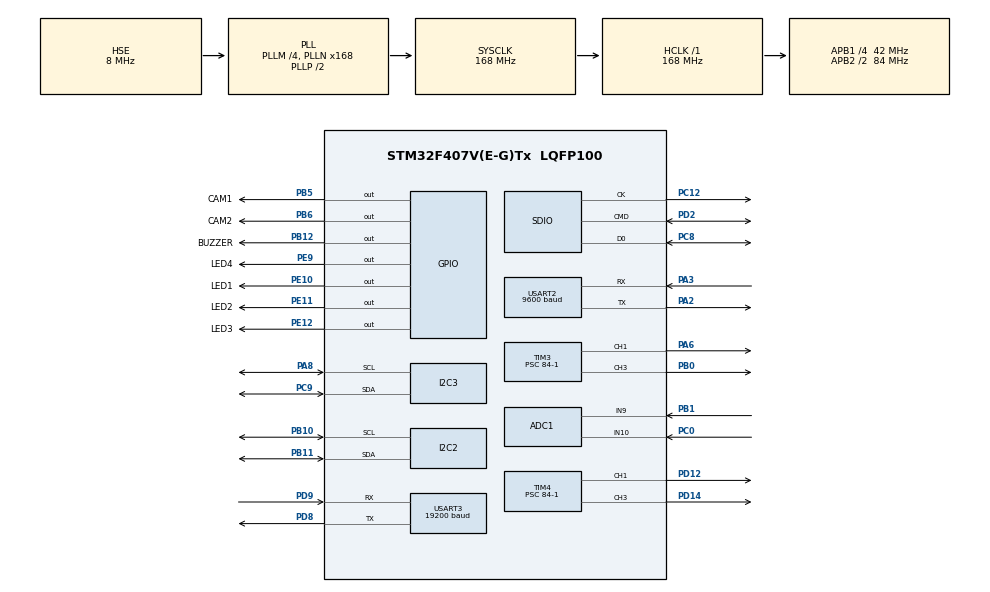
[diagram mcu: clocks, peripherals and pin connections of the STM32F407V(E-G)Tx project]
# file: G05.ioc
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ADC1.Channel-2\#ChannelRegularConversion=ADC_CHANNEL_10
ADC1.ContinuousConvMode=ENABLE
ADC1.DMAContinuousRequests=ENABLE
ADC1.NbrOfConversion=1
ADC1.NbrOfConversionFlag=1
ADC1.Rank-2\#ChannelRegularConversion=1
ADC1.SamplingTime-2\#ChannelRegularConversion=ADC_SAMPLETIME_480CYCLES
ADC1.ScanConvMode=ENABLE
ADC1.master=1
Dma.ADC1.0.Direction=DMA_PERIPH_TO_MEMORY
Dma.ADC1.0.FIFOMode=DMA_FIFOMODE_DISABLE
Dma.ADC1.0.Instance=DMA2_Stream0
Dma.ADC1.0.MemDataAlignment=DMA_MDATAALIGN_WORD
Dma.ADC1.0.MemInc=DMA_MINC_ENABLE
Dma.ADC1.0.Mode=DMA_CIRCULAR
Dma.ADC1.0.PeriphDataAlignment=DMA_PDATAALIGN_WORD
Dma.ADC1.0.PeriphInc=DMA_PINC_DISABLE
Dma.ADC1.0.Priority=DMA_PRIORITY_LOW
Dma.Request0=ADC1
Dma.Request1=USART2_RX
Dma.Request2=USART3_RX
Dma.Request3=USART3_TX
Dma.USART2_RX.1.Direction=DMA_PERIPH_TO_MEMORY
Dma.USART2_RX.1.FIFOMode=DMA_FIFOMODE_DISABLE
Dma.USART2_RX.1.Instance=DMA1_Stream5
Dma.USART2_RX.1.MemDataAlignment=DMA_MDATAALIGN_BYTE
Dma.USART2_RX.1.MemInc=DMA_MINC_ENABLE
Dma.USART2_RX.1.Mode=DMA_NORMAL
Dma.USART2_RX.1.PeriphDataAlignment=DMA_PDATAALIGN_BYTE
Dma.USART2_RX.1.PeriphInc=DMA_PINC_DISABLE
Dma.USART2_RX.1.Priority=DMA_PRIORITY_LOW
Dma.USART3_RX.2.Direction=DMA_PERIPH_TO_MEMORY
Dma.USART3_RX.2.FIFOMode=DMA_FIFOMODE_DISABLE
Dma.USART3_RX.2.Instance=DMA1_Stream1
Dma.USART3_RX.2.MemDataAlignment=DMA_MDATAALIGN_BYTE
Dma.USART3_RX.2.MemInc=DMA_MINC_ENABLE
Dma.USART3_RX.2.Mode=DMA_NORMAL
Dma.USART3_RX.2.PeriphDataAlignment=DMA_PDATAALIGN_BYTE
Dma.USART3_RX.2.PeriphInc=DMA_PINC_DISABLE
Dma.USART3_RX.2.Priority=DMA_PRIORITY_VERY_HIGH
Dma.USART3_TX.3.Direction=DMA_MEMORY_TO_PERIPH
Dma.USART3_TX.3.FIFOMode=DMA_FIFOMODE_DISABLE
Dma.USART3_TX.3.Instance=DMA1_Stream3
Dma.USART3_TX.3.MemDataAlignment=DMA_MDATAALIGN_BYTE
Dma.USART3_TX.3.MemInc=DMA_MINC_ENABLE
Dma.USART3_TX.3.Mode=DMA_NORMAL
Dma.USART3_TX.3.PeriphDataAlignment=DMA_PDATAALIGN_BYTE
Dma.USART3_TX.3.PeriphInc=DMA_PINC_DISABLE
Dma.USART3_TX.3.Priority=DMA_PRIORITY_VERY_HIGH
FATFS.USE_DMA_CODE_SD=0
FATFS._MAX_SS=512
FATFS._USE_LFN=1
I2C2.I2C_Mode=I2C_Standard
I2C3.I2C_Mode=I2C_Fast
Mcu.Family=STM32F4
Mcu.Name=STM32F407V(E-G)Tx
Mcu.Package=LQFP100
NVIC.DMA1_Stream1_IRQn=true\:0\:0\:true\:false\:true\:false\:true\:true
NVIC.DMA1_Stream3_IRQn=true\:1\:0\:true\:false\:true\:false\:true\:true
NVIC.DMA1_Stream5_IRQn=true\:2\:0\:true\:false\:true\:false\:true\:true
NVIC.DMA2_Stream0_IRQn=true\:5\:0\:true\:false\:true\:false\:true\:true
NVIC.PriorityGroup=NVIC_PRIORITYGROUP_4
NVIC.TIM1_TRG_COM_TIM11_IRQn=true\:2\:0\:true\:false\:true\:true\:true\:true
NVIC.TIM1_UP_TIM10_IRQn=true\:0\:0\:true\:false\:true\:true\:true\:true
NVIC.TIM8_UP_TIM13_IRQn=true\:3\:0\:true\:false\:true\:true\:true\:true
NVIC.USART3_IRQn=true\:0\:0\:false\:false\:true\:true\:true\:true
PA13.Mode=Serial_Wire
PA13.Signal=SYS_JTMS-SWDIO
PA14.Mode=Serial_Wire
PA14.Signal=SYS_JTCK-SWCLK
PA2.Mode=Asynchronous
PA2.Signal=USART2_TX
PA3.Mode=Asynchronous
PA3.Signal=USART2_RX
PA6.Signal=S_TIM3_CH1
PA8.Mode=I2C
PA8.Signal=I2C3_SCL
PB0.Signal=S_TIM3_CH3
PB1.Signal=ADCx_IN9
PB10.Mode=I2C
PB10.Signal=I2C2_SCL
PB11.Mode=I2C
PB11.Signal=I2C2_SDA
PB12.GPIO_Label=BUZZER
PB12.Signal=GPIO_Output
PB5.GPIO_Label=CAM1
PB5.Signal=GPIO_Output
PB6.GPIO_Label=CAM2
PB6.Signal=GPIO_Output
PC0.Signal=ADCx_IN10
PC12.Mode=SD_1_bit
PC12.Signal=SDIO_CK
PC14-OSC32_IN.Mode=LSE-External-Oscillator
PC14-OSC32_IN.Signal=RCC_OSC32_IN
PC15-OSC32_OUT.Mode=LSE-External-Oscillator
PC15-OSC32_OUT.Signal=RCC_OSC32_OUT
PC8.Mode=SD_1_bit
PC8.Signal=SDIO_D0
PC9.Mode=I2C
PC9.Signal=I2C3_SDA
PD12.Signal=S_TIM4_CH1
PD14.Signal=S_TIM4_CH3
PD2.Mode=SD_1_bit
PD2.Signal=SDIO_CMD
PD8.Mode=Asynchronous
PD8.Signal=USART3_TX
PD9.Mode=Asynchronous
PD9.Signal=USART3_RX
PE10.GPIO_Label=LED1
PE10.Signal=GPIO_Output
PE11.GPIO_Label=LED2
PE11.Signal=GPIO_Output
PE12.GPIO_Label=LED3
PE12.Signal=GPIO_Output
PE9.GPIO_Label=LED4
PE9.Signal=GPIO_Output
PH0-OSC_IN.Mode=HSE-External-Oscillator
PH0-OSC_IN.Signal=RCC_OSC_IN
PH1-OSC_OUT.Mode=HSE-External-Oscillator
PH1-OSC_OUT.Signal=RCC_OSC_OUT
ProjectManager.HeapSize=0x200
ProjectManager.StackSize=0x400
ProjectManager.TargetToolchain=STM32CubeIDE
RCC.48MHZClocksFreq_Value=48000000
RCC.AHBFreq_Value=168000000
RCC.APB1CLKDivider=RCC_HCLK_DIV4
RCC.APB1Freq_Value=42000000
RCC.APB1TimFreq_Value=84000000
RCC.APB2CLKDivider=RCC_HCLK_DIV2
RCC.APB2Freq_Value=84000000
RCC.APB2TimFreq_Value=168000000
RCC.CortexFreq_Value=168000000
RCC.HCLKFreq_Value=168000000
RCC.HSE_VALUE=8000000
RCC.HSI_VALUE=16000000
RCC.PLLM=4
RCC.PLLN=168
RCC.PLLQ=7
RCC.PLLSourceVirtual=RCC_PLLSOURCE_HSE
RCC.RCC_RTC_Clock_Source=RCC_RTCCLKSOURCE_LSE
RCC.RCC_RTC_Clock_SourceVirtual=RCC_RTCCLKSOURCE_LSE
RCC.SYSCLKFreq_VALUE=168000000
RCC.SYSCLKSource=RCC_SYSCLKSOURCE_PLLCLK
RCC.VCOOutputFreq_Value=336000000
SDIO.ClockDiv=12
SH.ADCx_IN10.0=ADC1_IN10,IN10
SH.ADCx_IN9.0=ADC1_IN9,IN9
SH.S_TIM3_CH1.0=TIM3_CH1,PWM Generation1 CH1
SH.S_TIM3_CH3.0=TIM3_CH3,PWM Generation3 CH3
SH.S_TIM4_CH1.0=TIM4_CH1,PWM Generation1 CH1
SH.S_TIM4_CH3.0=TIM4_CH3,PWM Generation3 CH3
TIM10.Period=10000-1
TIM10.Prescaler=16800-1
TIM11.Period=2500-1
TIM11.Prescaler=16800-1
TIM13.Period=30-1
TIM13.Prescaler=8400-1
TIM3.Channel-PWM\ Generation1\ CH1=TIM_CHANNEL_1
TIM3.Channel-PWM\ Generation3\ CH3=TIM_CHANNEL_3
TIM3.Period=20000-1
TIM3.Prescaler=84-1
TIM4.Channel-PWM\ Generation1\ CH1=TIM_CHANNEL_1
TIM4.Channel-PWM\ Generation3\ CH3=TIM_CHANNEL_3
TIM4.Period=20000-1
TIM4.Prescaler=84-1
TIM9.Period=20000-1
TIM9.Prescaler=168-1
USART2.BaudRate=9600
USART2.VirtualMode=VM_ASYNC
USART3.BaudRate=19200
USART3.VirtualMode=VM_ASYNC
VP_FATFS_VS_SDIO.Mode=SDIO
VP_RTC_VS_RTC_Activate.Mode=RTC_Enabled
VP_RTC_VS_RTC_Calendar.Mode=RTC_Calendar
VP_TIM10_VS_ClockSourceINT.Mode=Enable_Timer
VP_TIM11_VS_ClockSourceINT.Mode=Enable_Timer
VP_TIM13_VS_ClockSourceINT.Mode=Enable_Timer
VP_TIM3_VS_ClockSourceINT.Mode=Internal
VP_TIM9_VS_ClockSourceINT.Mode=Internal
board=custom

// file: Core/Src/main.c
/* USER CODE BEGIN Header */
/**
  ******************************************************************************
  * @file           : main.c
  * @brief          : Main program body
  ******************************************************************************
  * @attention
  *
  * Copyright (c) 2023 STMicroelectronics.
  * All rights reserved.
  *
  * This software is licensed under terms that can be found in the LICENSE file
  * in the root directory of this software component.
  * If no LICENSE file comes with this software, it is provided AS-IS.
  *
  ******************************************************************************
  */
/* USER CODE END Header */
#include "main.h"
#include "fatfs.h"

/* USER CODE BEGIN Includes */
#include <stdio.h>
#include <string.h>
#include "kom.h"
#include "task.h"
#include "BME280_STM32.h"
#include "bno055.h"
#include "GPS.h"
#include "servo.h"
#include "File_Handling.h"
#include "tm_stm32f4_bkpsram.h"
/* USER CODE END Includes */

ADC_HandleTypeDef hadc1;
DMA_HandleTypeDef hdma_adc1;

I2C_HandleTypeDef hi2c2;
I2C_HandleTypeDef hi2c3;

RTC_HandleTypeDef hrtc;

SD_HandleTypeDef hsd;

TIM_HandleTypeDef htim3;
TIM_HandleTypeDef htim4;
TIM_HandleTypeDef htim9;
TIM_HandleTypeDef htim10;
TIM_HandleTypeDef htim11;
TIM_HandleTypeDef htim13;

UART_HandleTypeDef huart2;
UART_HandleTypeDef huart3;
DMA_HandleTypeDef hdma_usart2_rx;
DMA_HandleTypeDef hdma_usart3_rx;
DMA_HandleTypeDef hdma_usart3_tx;

/* USER CODE BEGIN PV */

extern FATFS fs;
extern FIL fil;
extern FRESULT fresult;
extern UINT br, bw;

extern datatelemetri_t datatelemetri;
extern uint16_t counting;
extern uint8_t flaggimbal;
extern uint8_t flagtel;
extern uint8_t flagkameraon;
extern uint8_t flagkameraoff;
extern uint8_t camera;
uint8_t timerkamera1 = 29;
uint8_t timerkamera2 = 26;
uint16_t cam_pin;

bno055_vector_t bno055_euler, bno055_gyro;

/* USER CODE END PV */

void SystemClock_Config(void);
static void MX_GPIO_Init(void);
static void MX_DMA_Init(void);
static void MX_USART3_UART_Init(void);
static void MX_TIM10_Init(void);
static void MX_I2C2_Init(void);
static void MX_I2C3_Init(void);
static void MX_ADC1_Init(void);
static void MX_USART2_UART_Init(void);
static void MX_TIM4_Init(void);
static void MX_SDIO_SD_Init(void);
static void MX_TIM3_Init(void);
static void MX_TIM9_Init(void);
static void MX_TIM13_Init(void);
static void MX_TIM11_Init(void);
static void MX_RTC_Init(void);

/* USER CODE BEGIN 0 */

void HAL_TIM_PeriodElapsedCallback(TIM_HandleTypeDef *htim)
{
    if (htim == &htim10)
    {
		ambildata();
		if (flagtel == 1)
		{
			counting++;
			TM_BKPSRAM_Write16(PACKETCOUNT_ADR, counting);
			HAL_UART_Transmit_DMA(&huart3, (uint8_t *)datatelemetri.telemetritotal, strnlen(datatelemetri.telemetritotal, sizeof(datatelemetri.telemetritotal)));
			HAL_GPIO_WritePin(LED4_GPIO_Port, LED4_Pin, SET);
		}
		f_open(&fil, "2032.txt", FA_OPEN_APPEND | FA_WRITE);
		f_write(&fil, datatelemetri.telemetritotal, strlen(datatelemetri.telemetritotal), &bw);
		f_close(&fil);
		HAL_GPIO_WritePin(LED4_GPIO_Port, LED4_Pin, RESET);
	}

	if (htim == &htim11)
	{
		BME280_Measure();

		if (flagkameraon)
		{
			switch (camera) {
				case 1:
					cam_pin = CAM1_Pin;
					break;
				case 2:
					cam_pin = CAM2_Pin;
					break;
			}

			timerkamera1--;
			if(timerkamera1 < 29 && timerkamera1 > 27)
			{
				//28
				HAL_GPIO_WritePin(GPIOB, cam_pin, SET);
			}
			else if (timerkamera1 > 11 && timerkamera1 < 13)
			{
				//12
				HAL_GPIO_WritePin(GPIOB, cam_pin, RESET);
			}
			else if (timerkamera1 > 3 && timerkamera1 < 5)
			{
				//4
				HAL_GPIO_WritePin(GPIOB, cam_pin, SET);
			}
			if (timerkamera1 < 1)
			{
				flagkameraon = 0;
				timerkamera1 = 29;
				HAL_GPIO_WritePin(GPIOB, cam_pin, RESET);
			}
		}

		if (flagkameraoff)
		{
			timerkamera2--;
			if (timerkamera2 < 26 && timerkamera2 > 24)
			{
				//25
				HAL_GPIO_WritePin(CAM1_GPIO_Port, CAM1_Pin, SET);
				HAL_GPIO_WritePin(CAM2_GPIO_Port, CAM2_Pin, SET);
			}
			else if (timerkamera2 < 22 && timerkamera2 > 20)
			{
				//21
				HAL_GPIO_WritePin(CAM1_GPIO_Port, CAM1_Pin, RESET);
				HAL_GPIO_WritePin(CAM2_GPIO_Port, CAM2_Pin, RESET);
			}
			else if (timerkamera2 < 19 && timerkamera2 > 17)
			{
				//18
				HAL_GPIO_WritePin(CAM1_GPIO_Port, CAM1_Pin, SET);
				HAL_GPIO_WritePin(CAM2_GPIO_Port, CAM2_Pin, SET);
			}
			else if (timerkamera2 < 1)
			{
				flagkameraoff = 0;
				timerkamera2 = 26;
				HAL_GPIO_WritePin(CAM1_GPIO_Port, CAM1_Pin, RESET);
				HAL_GPIO_WritePin(CAM2_GPIO_Port, CAM2_Pin, RESET);
			}
		}
	}

	if (htim == &htim13)
	{
		bno055_gyro = bno055_getVectorGyroscope();
		bno055_euler = bno055_getVectorEuler();

		if (flaggimbal)
		{
			if (bno055_euler.x >= 0 && bno055_euler.x < 180)
			{
				servogerak(&htim3, TIM_CHANNEL_1, bno055_euler.x);
				servogerak(&htim3, TIM_CHANNEL_3, 0);
			}
			else if (bno055_euler.x >= 180 && bno055_euler.x <= 360)
			{
				servogerak(&htim3, TIM_CHANNEL_1, 180);
				servogerak(&htim3, TIM_CHANNEL_3, bno055_euler.x - 180);
			}
		}
    }
}

void HAL_ADC_ConvCpltCallback(ADC_HandleTypeDef* hadc)
{
	ADC_measure();
}

void HAL_UART_RxCpltCallback(UART_HandleTypeDef *huart)
{
    if (huart == &huart2)
    {
    	parsegpsdata();
    }

    if (huart == &huart3)
    {
    	checkdata_();
    }
}

void HAL_UART_TxCpltCallback(UART_HandleTypeDef *huart)
{
}

/* USER CODE END 0 */

int main(void)
{

  /* MCU Configuration--------------------------------------------------------*/

  /* Reset of all peripherals, Initializes the Flash interface and the Systick. */
  HAL_Init();

  /* Configure the system clock */
  SystemClock_Config();

  /* Initialize all configured peripherals */
  MX_GPIO_Init();
  MX_DMA_Init();
  MX_USART3_UART_Init();
  MX_TIM10_Init();
  MX_FATFS_Init();
  MX_I2C2_Init();
  MX_I2C3_Init();
  MX_ADC1_Init();
  MX_USART2_UART_Init();
  MX_TIM4_Init();
  MX_SDIO_SD_Init();
  MX_TIM3_Init();
  MX_TIM9_Init();
  MX_TIM13_Init();
  MX_TIM11_Init();
  MX_RTC_Init();
  /* USER CODE BEGIN 2 */

  TM_BKPSRAM_Init();
  init();
  rtcbackup();
  Mount_SD((const TCHAR *)"");
  Create_File("2032.txt");
  bno055_init();
  if (BME280_Config(OSRS_2, OSRS_16, OSRS_1, MODE_NORMAL, T_SB_0p5, IIR_16) == 0)
  {
      HAL_GPIO_WritePin(LED2_GPIO_Port, LED2_Pin, SET);
  }
  HAL_TIM_PWM_Start(&htim3, TIM_CHANNEL_1);
  HAL_TIM_PWM_Start(&htim3, TIM_CHANNEL_3);
  HAL_TIM_PWM_Start(&htim4, TIM_CHANNEL_1);
  kominit();
  gpsinit();
  adcinit();
  HAL_TIM_Base_Start_IT(&htim10);
  HAL_TIM_Base_Start_IT(&htim11);
  HAL_TIM_Base_Start_IT(&htim13);

  /* USER CODE END 2 */

  /* Infinite loop */
  while (1)
  {

  }
}

void SystemClock_Config(void)
{
  RCC_OscInitTypeDef RCC_OscInitStruct = {0};
  RCC_ClkInitTypeDef RCC_ClkInitStruct = {0};

  /** Configure the main internal regulator output voltage
  */
  __HAL_RCC_PWR_CLK_ENABLE();
  __HAL_PWR_VOLTAGESCALING_CONFIG(PWR_REGULATOR_VOLTAGE_SCALE1);

  /** Initializes the RCC Oscillators according to the specified parameters
  * in the RCC_OscInitTypeDef structure.
  */
  RCC_OscInitStruct.OscillatorType = RCC_OSCILLATORTYPE_HSE|RCC_OSCILLATORTYPE_LSE;
  RCC_OscInitStruct.HSEState = RCC_HSE_ON;
  RCC_OscInitStruct.LSEState = RCC_LSE_ON;
  RCC_OscInitStruct.PLL.PLLState = RCC_PLL_ON;
  RCC_OscInitStruct.PLL.PLLSource = RCC_PLLSOURCE_HSE;
  RCC_OscInitStruct.PLL.PLLM = 4;
  RCC_OscInitStruct.PLL.PLLN = 168;
  RCC_OscInitStruct.PLL.PLLP = RCC_PLLP_DIV2;
  RCC_OscInitStruct.PLL.PLLQ = 7;
  if (HAL_RCC_OscConfig(&RCC_OscInitStruct) != HAL_OK)
  {
    Error_Handler();
  }

  /** Initializes the CPU, AHB and APB buses clocks
  */
  RCC_ClkInitStruct.ClockType = RCC_CLOCKTYPE_HCLK|RCC_CLOCKTYPE_SYSCLK
                              |RCC_CLOCKTYPE_PCLK1|RCC_CLOCKTYPE_PCLK2;
  RCC_ClkInitStruct.SYSCLKSource = RCC_SYSCLKSOURCE_PLLCLK;
  RCC_ClkInitStruct.AHBCLKDivider = RCC_SYSCLK_DIV1;
  RCC_ClkInitStruct.APB1CLKDivider = RCC_HCLK_DIV4;
  RCC_ClkInitStruct.APB2CLKDivider = RCC_HCLK_DIV2;

  if (HAL_RCC_ClockConfig(&RCC_ClkInitStruct, FLASH_LATENCY_5) != HAL_OK)
  {
    Error_Handler();
  }
}

static void MX_ADC1_Init(void)
{

  ADC_ChannelConfTypeDef sConfig = {0};

  /** Configure the global features of the ADC (Clock, Resolution, Data Alignment and number of conversion)
  */
  hadc1.Instance = ADC1;
  hadc1.Init.ClockPrescaler = ADC_CLOCK_SYNC_PCLK_DIV4;
  hadc1.Init.Resolution = ADC_RESOLUTION_12B;
  hadc1.Init.ScanConvMode = ENABLE;
  hadc1.Init.ContinuousConvMode = ENABLE;
  hadc1.Init.DiscontinuousConvMode = DISABLE;
  hadc1.Init.ExternalTrigConvEdge = ADC_EXTERNALTRIGCONVEDGE_NONE;
  hadc1.Init.ExternalTrigConv = ADC_SOFTWARE_START;
  hadc1.Init.DataAlign = ADC_DATAALIGN_RIGHT;
  hadc1.Init.NbrOfConversion = 1;
  hadc1.Init.DMAContinuousRequests = ENABLE;
  hadc1.Init.EOCSelection = ADC_EOC_SINGLE_CONV;
  if (HAL_ADC_Init(&hadc1) != HAL_OK)
  {
    Error_Handler();
  }

  /** Configure for the selected ADC regular channel its corresponding rank in the sequencer and its sample time.
  */
  sConfig.Channel = ADC_CHANNEL_10;
  sConfig.Rank = 1;
  sConfig.SamplingTime = ADC_SAMPLETIME_480CYCLES;
  if (HAL_ADC_ConfigChannel(&hadc1, &sConfig) != HAL_OK)
  {
    Error_Handler();
  }

}

static void MX_I2C2_Init(void)
{

  hi2c2.Instance = I2C2;
  hi2c2.Init.ClockSpeed = 100000;
  hi2c2.Init.DutyCycle = I2C_DUTYCYCLE_2;
  hi2c2.Init.OwnAddress1 = 0;
  hi2c2.Init.AddressingMode = I2C_ADDRESSINGMODE_7BIT;
  hi2c2.Init.DualAddressMode = I2C_DUALADDRESS_DISABLE;
  hi2c2.Init.OwnAddress2 = 0;
  hi2c2.Init.GeneralCallMode = I2C_GENERALCALL_DISABLE;
  hi2c2.Init.NoStretchMode = I2C_NOSTRETCH_DISABLE;
  if (HAL_I2C_Init(&hi2c2) != HAL_OK)
  {
    Error_Handler();
  }

}

static void MX_I2C3_Init(void)
{

  hi2c3.Instance = I2C3;
  hi2c3.Init.ClockSpeed = 400000;
  hi2c3.Init.DutyCycle = I2C_DUTYCYCLE_2;
  hi2c3.Init.OwnAddress1 = 0;
  hi2c3.Init.AddressingMode = I2C_ADDRESSINGMODE_7BIT;
  hi2c3.Init.DualAddressMode = I2C_DUALADDRESS_DISABLE;
  hi2c3.Init.OwnAddress2 = 0;
  hi2c3.Init.GeneralCallMode = I2C_GENERALCALL_DISABLE;
  hi2c3.Init.NoStretchMode = I2C_NOSTRETCH_DISABLE;
  if (HAL_I2C_Init(&hi2c3) != HAL_OK)
  {
    Error_Handler();
  }

}

static void MX_RTC_Init(void)
{

  RTC_TimeTypeDef sTime = {0};
  RTC_DateTypeDef sDate = {0};

  /** Initialize RTC Only
  */
  hrtc.Instance = RTC;
  hrtc.Init.HourFormat = RTC_HOURFORMAT_24;
  hrtc.Init.AsynchPrediv = 127;
  hrtc.Init.SynchPrediv = 255;
  hrtc.Init.OutPut = RTC_OUTPUT_DISABLE;
  hrtc.Init.OutPutPolarity = RTC_OUTPUT_POLARITY_HIGH;
  hrtc.Init.OutPutType = RTC_OUTPUT_TYPE_OPENDRAIN;
  if (HAL_RTC_Init(&hrtc) != HAL_OK)
  {
    Error_Handler();
  }

  /** Initialize RTC and set the Time and Date
  */
  sTime.Hours = 0x0;
  sTime.Minutes = 0x0;
  sTime.Seconds = 0x0;
  sTime.DayLightSaving = RTC_DAYLIGHTSAVING_NONE;
  sTime.StoreOperation = RTC_STOREOPERATION_RESET;
  if (HAL_RTC_SetTime(&hrtc, &sTime, RTC_FORMAT_BCD) != HAL_OK)
  {
    Error_Handler();
  }
  sDate.WeekDay = RTC_WEEKDAY_MONDAY;
  sDate.Month = RTC_MONTH_JANUARY;
  sDate.Date = 0x1;
  sDate.Year = 0x0;

  if (HAL_RTC_SetDate(&hrtc, &sDate, RTC_FORMAT_BCD) != HAL_OK)
  {
    Error_Handler();
  }

}

static void MX_SDIO_SD_Init(void)
{

  hsd.Instance = SDIO;
  hsd.Init.ClockEdge = SDIO_CLOCK_EDGE_RISING;
  hsd.Init.ClockBypass = SDIO_CLOCK_BYPASS_DISABLE;
  hsd.Init.ClockPowerSave = SDIO_CLOCK_POWER_SAVE_DISABLE;
  hsd.Init.BusWide = SDIO_BUS_WIDE_1B;
  hsd.Init.HardwareFlowControl = SDIO_HARDWARE_FLOW_CONTROL_DISABLE;
  hsd.Init.ClockDiv = 12;

}

static void MX_TIM3_Init(void)
{

  TIM_ClockConfigTypeDef sClockSourceConfig = {0};
  TIM_MasterConfigTypeDef sMasterConfig = {0};
  TIM_OC_InitTypeDef sConfigOC = {0};

  htim3.Instance = TIM3;
  htim3.Init.Prescaler = 84-1;
  htim3.Init.CounterMode = TIM_COUNTERMODE_UP;
  htim3.Init.Period = 20000-1;
  htim3.Init.ClockDivision = TIM_CLOCKDIVISION_DIV1;
  htim3.Init.AutoReloadPreload = TIM_AUTORELOAD_PRELOAD_DISABLE;
  if (HAL_TIM_Base_Init(&htim3) != HAL_OK)
  {
    Error_Handler();
  }
  sClockSourceConfig.ClockSource = TIM_CLOCKSOURCE_INTERNAL;
  if (HAL_TIM_ConfigClockSource(&htim3, &sClockSourceConfig) != HAL_OK)
  {
    Error_Handler();
  }
  if (HAL_TIM_PWM_Init(&htim3) != HAL_OK)
  {
    Error_Handler();
  }
  sMasterConfig.MasterOutputTrigger = TIM_TRGO_RESET;
  sMasterConfig.MasterSlaveMode = TIM_MASTERSLAVEMODE_DISABLE;
  if (HAL_TIMEx_MasterConfigSynchronization(&htim3, &sMasterConfig) != HAL_OK)
  {
    Error_Handler();
  }
  sConfigOC.OCMode = TIM_OCMODE_PWM1;
  sConfigOC.Pulse = 0;
  sConfigOC.OCPolarity = TIM_OCPOLARITY_HIGH;
  sConfigOC.OCFastMode = TIM_OCFAST_DISABLE;
  if (HAL_TIM_PWM_ConfigChannel(&htim3, &sConfigOC, TIM_CHANNEL_1) != HAL_OK)
  {
    Error_Handler();
  }
  if (HAL_TIM_PWM_ConfigChannel(&htim3, &sConfigOC, TIM_CHANNEL_3) != HAL_OK)
  {
    Error_Handler();
  }
  HAL_TIM_MspPostInit(&htim3);

}

static void MX_TIM4_Init(void)
{

  TIM_MasterConfigTypeDef sMasterConfig = {0};
  TIM_OC_InitTypeDef sConfigOC = {0};

  htim4.Instance = TIM4;
  htim4.Init.Prescaler = 84-1;
  htim4.Init.CounterMode = TIM_COUNTERMODE_UP;
  htim4.Init.Period = 20000-1;
  htim4.Init.ClockDivision = TIM_CLOCKDIVISION_DIV1;
  htim4.Init.AutoReloadPreload = TIM_AUTORELOAD_PRELOAD_DISABLE;
  if (HAL_TIM_PWM_Init(&htim4) != HAL_OK)
  {
    Error_Handler();
  }
  sMasterConfig.MasterOutputTrigger = TIM_TRGO_RESET;
  sMasterConfig.MasterSlaveMode = TIM_MASTERSLAVEMODE_DISABLE;
  if (HAL_TIMEx_MasterConfigSynchronization(&htim4, &sMasterConfig) != HAL_OK)
  {
    Error_Handler();
  }
  sConfigOC.OCMode = TIM_OCMODE_PWM1;
  sConfigOC.Pulse = 0;
  sConfigOC.OCPolarity = TIM_OCPOLARITY_HIGH;
  sConfigOC.OCFastMode = TIM_OCFAST_DISABLE;
  if (HAL_TIM_PWM_ConfigChannel(&htim4, &sConfigOC, TIM_CHANNEL_1) != HAL_OK)
  {
    Error_Handler();
  }
  if (HAL_TIM_PWM_ConfigChannel(&htim4, &sConfigOC, TIM_CHANNEL_3) != HAL_OK)
  {
    Error_Handler();
  }
  HAL_TIM_MspPostInit(&htim4);

}

static void MX_TIM9_Init(void)
{

  TIM_ClockConfigTypeDef sClockSourceConfig = {0};

  htim9.Instance = TIM9;
  htim9.Init.Prescaler = 168-1;
  htim9.Init.CounterMode = TIM_COUNTERMODE_UP;
  htim9.Init.Period = 20000-1;
  htim9.Init.ClockDivision = TIM_CLOCKDIVISION_DIV1;
  htim9.Init.AutoReloadPreload = TIM_AUTORELOAD_PRELOAD_DISABLE;
  if (HAL_TIM_Base_Init(&htim9) != HAL_OK)
  {
    Error_Handler();
  }
  sClockSourceConfig.ClockSource = TIM_CLOCKSOURCE_INTERNAL;
  if (HAL_TIM_ConfigClockSource(&htim9, &sClockSourceConfig) != HAL_OK)
  {
    Error_Handler();
  }

}

static void MX_TIM10_Init(void)
{

  htim10.Instance = TIM10;
  htim10.Init.Prescaler = 16800-1;
  htim10.Init.CounterMode = TIM_COUNTERMODE_UP;
  htim10.Init.Period = 10000-1;
  htim10.Init.ClockDivision = TIM_CLOCKDIVISION_DIV1;
  htim10.Init.AutoReloadPreload = TIM_AUTORELOAD_PRELOAD_DISABLE;
  if (HAL_TIM_Base_Init(&htim10) != HAL_OK)
  {
    Error_Handler();
  }

}

static void MX_TIM11_Init(void)
{

  htim11.Instance = TIM11;
  htim11.Init.Prescaler = 16800-1;
  htim11.Init.CounterMode = TIM_COUNTERMODE_UP;
  htim11.Init.Period = 2500-1;
  htim11.Init.ClockDivision = TIM_CLOCKDIVISION_DIV1;
  htim11.Init.AutoReloadPreload = TIM_AUTORELOAD_PRELOAD_DISABLE;
  if (HAL_TIM_Base_Init(&htim11) != HAL_OK)
  {
    Error_Handler();
  }

}

static void MX_TIM13_Init(void)
{

  htim13.Instance = TIM13;
  htim13.Init.Prescaler = 8400-1;
  htim13.Init.CounterMode = TIM_COUNTERMODE_UP;
  htim13.Init.Period = 30-1;
  htim13.Init.ClockDivision = TIM_CLOCKDIVISION_DIV1;
  htim13.Init.AutoReloadPreload = TIM_AUTORELOAD_PRELOAD_DISABLE;
  if (HAL_TIM_Base_Init(&htim13) != HAL_OK)
  {
    Error_Handler();
  }

}

static void MX_USART2_UART_Init(void)
{

  huart2.Instance = USART2;
  huart2.Init.BaudRate = 9600;
  huart2.Init.WordLength = UART_WORDLENGTH_8B;
  huart2.Init.StopBits = UART_STOPBITS_1;
  huart2.Init.Parity = UART_PARITY_NONE;
  huart2.Init.Mode = UART_MODE_TX_RX;
  huart2.Init.HwFlowCtl = UART_HWCONTROL_NONE;
  huart2.Init.OverSampling = UART_OVERSAMPLING_16;
  if (HAL_UART_Init(&huart2) != HAL_OK)
  {
    Error_Handler();
  }

}

static void MX_USART3_UART_Init(void)
{

  huart3.Instance = USART3;
  huart3.Init.BaudRate = 19200;
  huart3.Init.WordLength = UART_WORDLENGTH_8B;
  huart3.Init.StopBits = UART_STOPBITS_1;
  huart3.Init.Parity = UART_PARITY_NONE;
  huart3.Init.Mode = UART_MODE_TX_RX;
  huart3.Init.HwFlowCtl = UART_HWCONTROL_NONE;
  huart3.Init.OverSampling = UART_OVERSAMPLING_16;
  if (HAL_UART_Init(&huart3) != HAL_OK)
  {
    Error_Handler();
  }

}

static void MX_DMA_Init(void)
{

  /* DMA controller clock enable */
  __HAL_RCC_DMA2_CLK_ENABLE();
  __HAL_RCC_DMA1_CLK_ENABLE();

  /* DMA interrupt init */
  /* DMA1_Stream1_IRQn interrupt configuration */
  HAL_NVIC_SetPriority(DMA1_Stream1_IRQn, 0, 0);
  HAL_NVIC_EnableIRQ(DMA1_Stream1_IRQn);
  /* DMA1_Stream3_IRQn interrupt configuration */
  HAL_NVIC_SetPriority(DMA1_Stream3_IRQn, 1, 0);
  HAL_NVIC_EnableIRQ(DMA1_Stream3_IRQn);
  /* DMA1_Stream5_IRQn interrupt configuration */
  HAL_NVIC_SetPriority(DMA1_Stream5_IRQn, 2, 0);
  HAL_NVIC_EnableIRQ(DMA1_Stream5_IRQn);
  /* DMA2_Stream0_IRQn interrupt configuration */
  HAL_NVIC_SetPriority(DMA2_Stream0_IRQn, 5, 0);
  HAL_NVIC_EnableIRQ(DMA2_Stream0_IRQn);

}

static void MX_GPIO_Init(void)
{
  GPIO_InitTypeDef GPIO_InitStruct = {0};

  /* GPIO Ports Clock Enable */
  __HAL_RCC_GPIOC_CLK_ENABLE();
  __HAL_RCC_GPIOH_CLK_ENABLE();
  __HAL_RCC_GPIOA_CLK_ENABLE();
  __HAL_RCC_GPIOB_CLK_ENABLE();
  __HAL_RCC_GPIOE_CLK_ENABLE();
  __HAL_RCC_GPIOD_CLK_ENABLE();

  /*Configure GPIO pin Output Level */
  HAL_GPIO_WritePin(GPIOE, LED4_Pin|LED1_Pin|LED2_Pin|LED3_Pin, GPIO_PIN_RESET);

  /*Configure GPIO pin Output Level */
  HAL_GPIO_WritePin(GPIOB, BUZZER_Pin|CAM1_Pin|CAM2_Pin, GPIO_PIN_RESET);

  /*Configure GPIO pins : LED4_Pin LED1_Pin LED2_Pin LED3_Pin */
  GPIO_InitStruct.Pin = LED4_Pin|LED1_Pin|LED2_Pin|LED3_Pin;
  GPIO_InitStruct.Mode = GPIO_MODE_OUTPUT_PP;
  GPIO_InitStruct.Pull = GPIO_NOPULL;
  GPIO_InitStruct.Speed = GPIO_SPEED_FREQ_LOW;
  HAL_GPIO_Init(GPIOE, &GPIO_InitStruct);

  /*Configure GPIO pins : BUZZER_Pin CAM1_Pin CAM2_Pin */
  GPIO_InitStruct.Pin = BUZZER_Pin|CAM1_Pin|CAM2_Pin;
  GPIO_InitStruct.Mode = GPIO_MODE_OUTPUT_PP;
  GPIO_InitStruct.Pull = GPIO_NOPULL;
  GPIO_InitStruct.Speed = GPIO_SPEED_FREQ_LOW;
  HAL_GPIO_Init(GPIOB, &GPIO_InitStruct);

}

void Error_Handler(void)
{
  __disable_irq();
  while (1)
  {
  }
}
